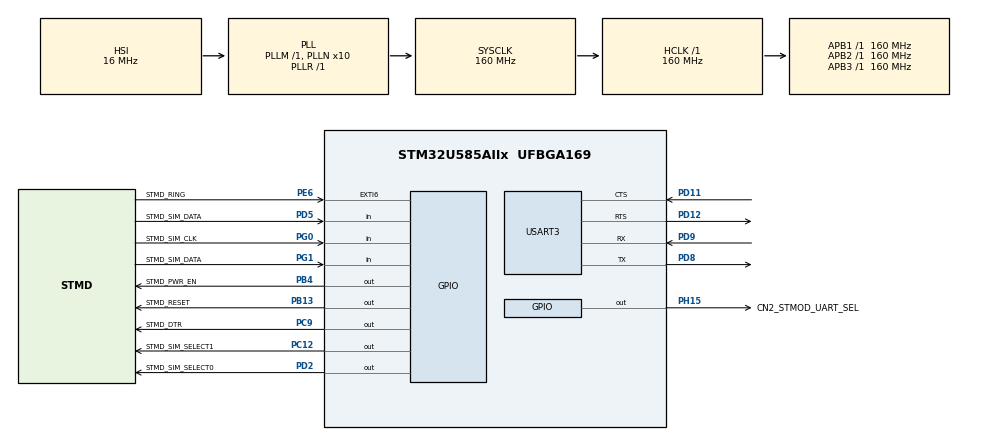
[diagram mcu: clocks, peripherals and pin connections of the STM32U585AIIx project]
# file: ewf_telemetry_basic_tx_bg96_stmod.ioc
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CORTEX_M33_NS.userName=CORTEX_M33
Mcu.Family=STM32U5
Mcu.Name=STM32U585AIIx
Mcu.Package=UFBGA169
NVIC.EXTI6_IRQn=true\:5\:0\:true\:false\:true\:false\:true\:true\:true
NVIC.PriorityGroup=NVIC_PRIORITYGROUP_4
NVIC.TIM3_IRQn=true\:15\:0\:false\:false\:true\:false\:false\:true\:true
NVIC.TimeBase=TIM3_IRQn
NVIC.TimeBaseIP=TIM3
NVIC.USART3_IRQn=true\:0\:0\:false\:false\:true\:false\:true\:true\:true
PA10.Signal=USART1_RX
PA13\ (JTMS/SWDIO).Mode=Trace_Asynchronous_SW
PA13\ (JTMS/SWDIO).Signal=DEBUG_JTMS-SWDIO
PA14\ (JTCK/SWCLK).Mode=Trace_Asynchronous_SW
PA14\ (JTCK/SWCLK).Signal=DEBUG_JTCK-SWCLK
PA9.Signal=USART1_TX
PB13.GPIO_Label=STMD_RESET
PB13.PinState=GPIO_PIN_SET
PB13.Signal=GPIO_Output
PB3\ (JTDO/TRACESWO).Mode=Trace_Asynchronous_SW
PB3\ (JTDO/TRACESWO).Signal=DEBUG_JTDO-SWO
PB4\ (NJTRST).GPIO_Label=STMD_PWR_EN
PB4\ (NJTRST).PinState=GPIO_PIN_SET
PB4\ (NJTRST).Signal=GPIO_Output
PC12.GPIO_Label=STMD_SIM_SELECT1
PC12.Signal=GPIO_Output
PC9.GPIO_Label=STMD_DTR
PC9.Signal=GPIO_Output
PD11.Mode=CTS_RTS
PD11.Signal=USART3_CTS
PD12.Mode=CTS_RTS
PD12.Signal=USART3_RTS
PD2.GPIO_Label=STMD_SIM_SELECT0
PD2.Signal=GPIO_Output
PD5.GPIO_Label=STMD_SIM_DATA
PD5.Signal=GPIO_Input
PD8.Mode=Asynchronous
PD8.Signal=USART3_TX
PD9.Mode=Asynchronous
PD9.Signal=USART3_RX
PE6.GPIO_Label=STMD_RING
PE6.Signal=GPXTI6
PG0.GPIO_Label=STMD_SIM_CLK
PG0.Signal=GPIO_Input
PG1.GPIO_Label=STMD_SIM_DATA
PG1.Signal=GPIO_Input
PH15.GPIO_Label=CN2_STMOD_UART_SEL
PH15.PinState=GPIO_PIN_SET
PH15.Signal=GPIO_Output
PWR.PowerMode=PWR_SMPS_SUPPLY
ProjectManager.HeapSize=0x200
ProjectManager.StackSize=0x400
ProjectManager.TargetToolchain=STM32CubeIDE
RCC.ADCFreq_Value=16000000
RCC.AHBFreq_Value=160000000
RCC.APB1Freq_Value=160000000
RCC.APB1TimFreq_Value=160000000
RCC.APB2Freq_Value=160000000
RCC.APB2TimFreq_Value=160000000
RCC.APB3Freq_Value=160000000
RCC.CortexFreq_Value=160000000
RCC.DACCLockSelectionVirtual=RCC_DAC1CLKSOURCE_LSI
RCC.DACCLockSelectionVirtualString=RCC_DAC1CLKSOURCE_LSI
RCC.EPOD_VALUE=16000000
RCC.HCLKFreq_Value=160000000
RCC.HSE_VALUE=16000000
RCC.HSI48_VALUE=48000000
RCC.HSI_VALUE=16000000
RCC.LSE_VALUE=32768
RCC.LSIDIV_VALUE=32000
RCC.MSIClockRange=RCC_MSIRANGE_0
RCC.MSI_VALUE=48000000
RCC.PLL1R=1
RCC.PLLN=10
RCC.PLLSourceVirtual=RCC_PLLSOURCE_HSI
RCC.SPI2CLockSelection=RCC_SPI2CLKSOURCE_PCLK1
RCC.SYSCLKFreq_VALUE=160000000
RCC.SYSCLKSource=RCC_SYSCLKSOURCE_PLLCLK
RCC.USBFreq_Value=48000000
RCC.VCOOutputFreq_Value=160000000
THREADX.AZRTOS_APP_MEM_ALLOCATION_METHOD=1
THREADX.TX_APP_MEM_POOL_SIZE=(512*1)
USART3.VirtualMode-Asynchronous=VM_ASYNC
VP_ICACHE_VS_ICACHE.Mode=DirectMappedCache
VP_LPBAMQUEUE_VS_QUEUE.Mode=QUEUEMODE
VP_LPBAM_VS_SIG1.Mode=SmartRun
VP_LPBAM_VS_SIG4.Mode=LPDMA1
VP_PWR_VS_DBSignals.Mode=DisableDeadBatterySignals
VP_PWR_VS_LPOM.Mode=PowerOptimisation
VP_PWR_VS_SECSignals.Mode=Security/Privilege
VP_SYS_VS_tim3.Mode=TIM3
VP_THREADX_VS_RTOSJjThreadXJjCoreJjDefault.Mode=Core_Default
board=custom

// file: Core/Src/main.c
/* USER CODE BEGIN Header */
/**
  ******************************************************************************
  * @file           : main.c
  * @brief          : Main program body
  ******************************************************************************
  * @attention
  *
  * Copyright (c) 2022 STMicroelectronics.
  * All rights reserved.
  *
  * This software is licensed under terms that can be found in the LICENSE file
  * in the root directory of this software component.
  * If no LICENSE file comes with this software, it is provided AS-IS.
  *
  ******************************************************************************
  */
/* USER CODE END Header */
#include "main.h"
#include "app_threadx.h"

/* USER CODE BEGIN Includes */

#include <stdlib.h>

#include "stm32u5xx_hal.h"
#include "stm32u5xx_ll_bus.h"
#include "stm32u5xx_ll_rcc.h"
#include "stm32u5xx_ll_system.h"
#include "stm32u5xx_ll_utils.h"
#include "stm32u5xx_ll_pwr.h"
#include "stm32u5xx_ll_exti.h"
#include "stm32u5xx_ll_gpio.h"
#include "stm32u5xx_ll_usart.h"

#include "ewf_lib.c"
#include "ewf_platform_threadx.c"
#include "ewf_allocator.c"
#include "ewf_allocator_threadx.c"
#include "ewf_tokenizer.c"
#include "ewf_tokenizer_basic.c"
#include "ewf_interface.c"
#include "ewf_interface_stm32_uart.c"
#include "ewf_adapter.c"
#include "ewf_adapter_api_control.c"
#include "ewf_adapter_api_info.c"
#include "ewf_adapter_api_tls_basic.c"
#include "ewf_adapter_api_mqtt_basic.c"
#include "ewf_adapter_api_tcp.c"
#include "ewf_adapter_api_udp.c"
#include "ewf_adapter_api_modem.c"
#include "ewf_adapter_api_modem_general.c"
#include "ewf_adapter_api_modem_network_service.c"
#include "ewf_adapter_api_modem_packet_domain.c"
#include "ewf_adapter_api_modem_sim_utility.c"
#include "ewf_adapter_api_modem_sms.c"
#include "ewf_adapter_quectel_bg96.c"
#include "ewf_adapter_quectel_common_tokenizer.c"
#include "ewf_adapter_quectel_common_urc.c"
#include "ewf_adapter_quectel_common_control.c"
#include "ewf_adapter_quectel_common_context.c"
#include "ewf_adapter_quectel_common_info.c"
#include "ewf_adapter_quectel_common_internet.c"
#include "ewf_adapter_quectel_common_ufs.c"
#include "ewf_adapter_quectel_common_mqtt_basic.c"
#include "ewf_adapter_quectel_common_tls_basic.c"
#include "ewf_example_telemetry_basic.c"
#include "ewf_example.config.h"

/* USER CODE END Includes */

/* USER CODE BEGIN PTD */
#if defined ( __GNUC__) && !defined(__clang__)
/* With GCC, small printf (option LD Linker->Libraries->Small printf
   set to 'Yes') calls __io_putchar() */
#define PUTCHAR_PROTOTYPE int __io_putchar(int ch)
#else
#define PUTCHAR_PROTOTYPE int fputc(int ch, FILE *f)
#endif /* __GNUC__ */

/* USER CODE END PTD */

UART_HandleTypeDef huart3;

void SystemClock_Config(void);
static void SystemPower_Config(void);
static void MX_GPIO_Init(void);
static void MX_ICACHE_Init(void);
static void MX_USART3_UART_Init(void);

/* USER CODE BEGIN 0 */

void ewf_adapter_quectel_bg96_stmod_power_on()
{
    EWF_LOG("\n\nStarting the STMod+ BG96 modem...\n");

    /* Clear the reset pin */
	HAL_GPIO_WritePin(STMD_RESET_GPIO_Port, STMD_RESET_Pin, GPIO_PIN_RESET);

    /* Turn OFF the module to power cycle it */
    HAL_GPIO_WritePin(STMD_PWR_EN_GPIO_Port, STMD_PWR_EN_Pin, GPIO_PIN_RESET);

    /* Wait for one second */
    ewf_platform_sleep(EWF_PLATFORM_TICKS_PER_SECOND * 1);

    /* Power ON */
    HAL_GPIO_WritePin(STMD_PWR_EN_GPIO_Port, STMD_PWR_EN_Pin, GPIO_PIN_SET);

    /* Wait for the modem to reach ready state  */
    ewf_platform_sleep(EWF_PLATFORM_TICKS_PER_SECOND * 7);

    /* Initialize the UART */
    MX_USART3_UART_Init();

    EWF_LOG("Ready!\n");
}

/**
 *  @brief The thread entry point
 */
void telemetry_thread_entry(ULONG param)
{
    ewf_result result;

    ewf_allocator* message_allocator_ptr = NULL;
    ewf_interface* interface_ptr = NULL;
    ewf_adapter* adapter_ptr = NULL;

    EWF_ALLOCATOR_THREADX_STATIC_DECLARE(message_allocator_ptr, message_allocator,
        EWF_CONFIG_MESSAGE_ALLOCATOR_BLOCK_COUNT,
        EWF_CONFIG_MESSAGE_ALLOCATOR_BLOCK_SIZE);
    EWF_INTERFACE_STM32_UART_STATIC_DECLARE(interface_ptr, stm32_uart_port, &huart3);
    EWF_ADAPTER_QUECTEL_BG96_STATIC_DECLARE(adapter_ptr, quectel_bg96, message_allocator_ptr, NULL, interface_ptr);

	/* Power on the STMOD+ BG96 modem */
    ewf_adapter_quectel_bg96_stmod_power_on();

    // Start the adapter
    if (ewf_result_failed(result = ewf_adapter_start(adapter_ptr)))
    {
        EWF_LOG_ERROR("Failed to start the adapter, ewf_result %d.\n", result);
        return;
    }

    // Set the SIM PIN
    if (ewf_result_failed(result = ewf_adapter_modem_sim_pin_enter(adapter_ptr, EWF_CONFIG_SIM_PIN)))
    {
        EWF_LOG_ERROR("Failed to the SIM PIN, ewf_result %d.\n", result);
        return;
    }

    // Set the ME functionality
    if (ewf_result_failed(result = ewf_adapter_modem_functionality_set(adapter_ptr, "1")))
    {
        EWF_LOG_ERROR("Failed to the ME functionality, ewf_result %d.\n", result);
        return;
    }

    // Activated the PDP context
    if (ewf_result_failed(result = ewf_adapter_quectel_bg96_context_activate(adapter_ptr, EWF_CONFIG_CONTEXT_ID)))
    {
        EWF_LOG("Failed to activate the PDP context: ewf_result %d.\n", result);
        // continue despite the error
    }

#ifdef EWF_ADAPTER_QUECTEL_BG96_TLS_BASIC_ENABLED
    if (ewf_result_failed(result = ewf_adapter_tls_basic_init(adapter_ptr)))
    {
        EWF_LOG_ERROR("Failed to init the SSL basic API, ewf_result %d.\n", result);
        return;
    }
#endif

    // Call the telemetry example
    if (ewf_result_failed(result = ewf_example_telemetry_basic(adapter_ptr)))
    {
        EWF_LOG_ERROR("The telemetry example returned and error, ewf_result %d.\n", result);
        return;
    }

#ifdef EWF_ADAPTER_QUECTEL_BG96_TLS_BASIC_ENABLED
    if (ewf_result_failed(result = ewf_adapter_tls_basic_clean(adapter_ptr)))
    {
        EWF_LOG_ERROR("Failed to clean the SSL basic API, ewf_result %d.\n", result);
        return;
    }
#endif

    EWF_LOG("\nDone!\n");

    /* Stay here forever.  */
    while (1)
    {
    	EWF_LOG(".");
        tx_thread_sleep(TX_TIMER_TICKS_PER_SECOND);
    }
}

/* USER CODE END 0 */

int main(void)
{

  /* MCU Configuration--------------------------------------------------------*/

  /* Reset of all peripherals, Initializes the Flash interface and the Systick. */
  HAL_Init();

  /* Configure the system clock */
  SystemClock_Config();

  /* Configure the System Power */
  SystemPower_Config();

  /* Initialize all configured peripherals */
  MX_GPIO_Init();
  MX_ICACHE_Init();

  MX_ThreadX_Init();

  /* We should never get here as control is now taken by the scheduler */
  /* Infinite loop */
  while (1)
  {

  }
}

void SystemClock_Config(void)
{
  RCC_OscInitTypeDef RCC_OscInitStruct = {0};
  RCC_ClkInitTypeDef RCC_ClkInitStruct = {0};

  /** Configure the main internal regulator output voltage
  */
  if (HAL_PWREx_ControlVoltageScaling(PWR_REGULATOR_VOLTAGE_SCALE1) != HAL_OK)
  {
    Error_Handler();
  }

  /** Initializes the CPU, AHB and APB buses clocks
  */
  RCC_OscInitStruct.OscillatorType = RCC_OSCILLATORTYPE_HSI;
  RCC_OscInitStruct.HSIState = RCC_HSI_ON;
  RCC_OscInitStruct.HSICalibrationValue = RCC_HSICALIBRATION_DEFAULT;
  RCC_OscInitStruct.PLL.PLLState = RCC_PLL_ON;
  RCC_OscInitStruct.PLL.PLLSource = RCC_PLLSOURCE_HSI;
  RCC_OscInitStruct.PLL.PLLMBOOST = RCC_PLLMBOOST_DIV1;
  RCC_OscInitStruct.PLL.PLLM = 1;
  RCC_OscInitStruct.PLL.PLLN = 10;
  RCC_OscInitStruct.PLL.PLLP = 2;
  RCC_OscInitStruct.PLL.PLLQ = 2;
  RCC_OscInitStruct.PLL.PLLR = 1;
  RCC_OscInitStruct.PLL.PLLRGE = RCC_PLLVCIRANGE_1;
  RCC_OscInitStruct.PLL.PLLFRACN = 0;
  if (HAL_RCC_OscConfig(&RCC_OscInitStruct) != HAL_OK)
  {
    Error_Handler();
  }

  /** Initializes the CPU, AHB and APB buses clocks
  */
  RCC_ClkInitStruct.ClockType = RCC_CLOCKTYPE_HCLK|RCC_CLOCKTYPE_SYSCLK
                              |RCC_CLOCKTYPE_PCLK1|RCC_CLOCKTYPE_PCLK2
                              |RCC_CLOCKTYPE_PCLK3;
  RCC_ClkInitStruct.SYSCLKSource = RCC_SYSCLKSOURCE_PLLCLK;
  RCC_ClkInitStruct.AHBCLKDivider = RCC_SYSCLK_DIV1;
  RCC_ClkInitStruct.APB1CLKDivider = RCC_HCLK_DIV1;
  RCC_ClkInitStruct.APB2CLKDivider = RCC_HCLK_DIV1;
  RCC_ClkInitStruct.APB3CLKDivider = RCC_HCLK_DIV1;

  if (HAL_RCC_ClockConfig(&RCC_ClkInitStruct, FLASH_LATENCY_4) != HAL_OK)
  {
    Error_Handler();
  }
}

/**
  * @brief Power Configuration
  * @retval None
  */
static void SystemPower_Config(void)
{

  /*
   * Disable the internal Pull-Up in Dead Battery pins of UCPD peripheral
   */
  HAL_PWREx_DisableUCPDDeadBattery();
}

static void MX_ICACHE_Init(void)
{

  /** Enable instruction cache in 1-way (direct mapped cache)
  */
  if (HAL_ICACHE_ConfigAssociativityMode(ICACHE_1WAY) != HAL_OK)
  {
    Error_Handler();
  }
  if (HAL_ICACHE_Enable() != HAL_OK)
  {
    Error_Handler();
  }

}

static void MX_USART3_UART_Init(void)
{

  huart3.Instance = USART3;
  huart3.Init.BaudRate = 115200;
  huart3.Init.WordLength = UART_WORDLENGTH_8B;
  huart3.Init.StopBits = UART_STOPBITS_1;
  huart3.Init.Parity = UART_PARITY_NONE;
  huart3.Init.Mode = UART_MODE_TX_RX;
  huart3.Init.HwFlowCtl = UART_HWCONTROL_RTS_CTS;
  huart3.Init.OverSampling = UART_OVERSAMPLING_16;
  huart3.Init.OneBitSampling = UART_ONE_BIT_SAMPLE_DISABLE;
  huart3.Init.ClockPrescaler = UART_PRESCALER_DIV1;
  huart3.AdvancedInit.AdvFeatureInit = UART_ADVFEATURE_NO_INIT;
  if (HAL_UART_Init(&huart3) != HAL_OK)
  {
    Error_Handler();
  }
  if (HAL_UARTEx_SetTxFifoThreshold(&huart3, UART_TXFIFO_THRESHOLD_1_8) != HAL_OK)
  {
    Error_Handler();
  }
  if (HAL_UARTEx_SetRxFifoThreshold(&huart3, UART_RXFIFO_THRESHOLD_1_8) != HAL_OK)
  {
    Error_Handler();
  }
  if (HAL_UARTEx_DisableFifoMode(&huart3) != HAL_OK)
  {
    Error_Handler();
  }

}

static void MX_GPIO_Init(void)
{
  GPIO_InitTypeDef GPIO_InitStruct = {0};

  /* GPIO Ports Clock Enable */
  __HAL_RCC_GPIOH_CLK_ENABLE();
  __HAL_RCC_GPIOB_CLK_ENABLE();
  __HAL_RCC_GPIOA_CLK_ENABLE();
  __HAL_RCC_GPIOE_CLK_ENABLE();
  __HAL_RCC_GPIOD_CLK_ENABLE();
  __HAL_RCC_GPIOC_CLK_ENABLE();
  __HAL_RCC_GPIOG_CLK_ENABLE();

  /*Configure GPIO pin Output Level */
  HAL_GPIO_WritePin(CN2_STMOD_UART_SEL_GPIO_Port, CN2_STMOD_UART_SEL_Pin, GPIO_PIN_SET);

  /*Configure GPIO pin Output Level */
  HAL_GPIO_WritePin(GPIOB, STMD_PWR_EN_Pin|STMD_RESET_Pin, GPIO_PIN_SET);

  /*Configure GPIO pin Output Level */
  HAL_GPIO_WritePin(GPIOC, STMD_SIM_SELECT1_Pin|STMD_DTR_Pin, GPIO_PIN_RESET);

  /*Configure GPIO pin Output Level */
  HAL_GPIO_WritePin(STMD_SIM_SELECT0_GPIO_Port, STMD_SIM_SELECT0_Pin, GPIO_PIN_RESET);

  /*Configure GPIO pin : CN2_STMOD_UART_SEL_Pin */
  GPIO_InitStruct.Pin = CN2_STMOD_UART_SEL_Pin;
  GPIO_InitStruct.Mode = GPIO_MODE_OUTPUT_PP;
  GPIO_InitStruct.Pull = GPIO_NOPULL;
  GPIO_InitStruct.Speed = GPIO_SPEED_FREQ_LOW;
  HAL_GPIO_Init(CN2_STMOD_UART_SEL_GPIO_Port, &GPIO_InitStruct);

  /*Configure GPIO pins : STMD_PWR_EN_Pin STMD_RESET_Pin */
  GPIO_InitStruct.Pin = STMD_PWR_EN_Pin|STMD_RESET_Pin;
  GPIO_InitStruct.Mode = GPIO_MODE_OUTPUT_PP;
  GPIO_InitStruct.Pull = GPIO_NOPULL;
  GPIO_InitStruct.Speed = GPIO_SPEED_FREQ_LOW;
  HAL_GPIO_Init(GPIOB, &GPIO_InitStruct);

  /*Configure GPIO pin : STMD_RING_Pin */
  GPIO_InitStruct.Pin = STMD_RING_Pin;
  GPIO_InitStruct.Mode = GPIO_MODE_IT_RISING;
  GPIO_InitStruct.Pull = GPIO_NOPULL;
  HAL_GPIO_Init(STMD_RING_GPIO_Port, &GPIO_InitStruct);

  /*Configure GPIO pin : STMD_SIM_DATA_Pin */
  GPIO_InitStruct.Pin = STMD_SIM_DATA_Pin;
  GPIO_InitStruct.Mode = GPIO_MODE_INPUT;
  GPIO_InitStruct.Pull = GPIO_NOPULL;
  HAL_GPIO_Init(STMD_SIM_DATA_GPIO_Port, &GPIO_InitStruct);

  /*Configure GPIO pins : STMD_SIM_SELECT1_Pin STMD_DTR_Pin */
  GPIO_InitStruct.Pin = STMD_SIM_SELECT1_Pin|STMD_DTR_Pin;
  GPIO_InitStruct.Mode = GPIO_MODE_OUTPUT_PP;
  GPIO_InitStruct.Pull = GPIO_NOPULL;
  GPIO_InitStruct.Speed = GPIO_SPEED_FREQ_LOW;
  HAL_GPIO_Init(GPIOC, &GPIO_InitStruct);

  /*Configure GPIO pin : STMD_SIM_SELECT0_Pin */
  GPIO_InitStruct.Pin = STMD_SIM_SELECT0_Pin;
  GPIO_InitStruct.Mode = GPIO_MODE_OUTPUT_PP;
  GPIO_InitStruct.Pull = GPIO_NOPULL;
  GPIO_InitStruct.Speed = GPIO_SPEED_FREQ_LOW;
  HAL_GPIO_Init(STMD_SIM_SELECT0_GPIO_Port, &GPIO_InitStruct);

  /*Configure GPIO pins : PA10 PA9 */
  GPIO_InitStruct.Pin = GPIO_PIN_10|GPIO_PIN_9;
  GPIO_InitStruct.Mode = GPIO_MODE_AF_PP;
  GPIO_InitStruct.Pull = GPIO_NOPULL;
  GPIO_InitStruct.Speed = GPIO_SPEED_FREQ_LOW;
  GPIO_InitStruct.Alternate = GPIO_AF7_USART1;
  HAL_GPIO_Init(GPIOA, &GPIO_InitStruct);

  /*Configure GPIO pins : STMD_SIM_DATAG1_Pin STMD_SIM_CLK_Pin */
  GPIO_InitStruct.Pin = STMD_SIM_DATAG1_Pin|STMD_SIM_CLK_Pin;
  GPIO_InitStruct.Mode = GPIO_MODE_INPUT;
  GPIO_InitStruct.Pull = GPIO_NOPULL;
  HAL_GPIO_Init(GPIOG, &GPIO_InitStruct);

  /* EXTI interrupt init*/
  HAL_NVIC_SetPriority(EXTI6_IRQn, 5, 0);
  HAL_NVIC_EnableIRQ(EXTI6_IRQn);

}

/* USER CODE BEGIN 4 */
/**
* @brief  Retargets the C library printf function to the USART.
* @param  None
* @retval None
*/

PUTCHAR_PROTOTYPE
{
    /* Place your implementation of fputc here */
    /* e.g. write a character to the USART1 and Loop until the end of transmission */
    ITM_SendChar(ch);
    return ch;
}

/* USER CODE END 4 */

void HAL_TIM_PeriodElapsedCallback(TIM_HandleTypeDef *htim)
{
  if (htim->Instance == TIM3) {
    HAL_IncTick();
  }
}

void Error_Handler(void)
{
  __disable_irq();
  while (1)
  {
  }
}
